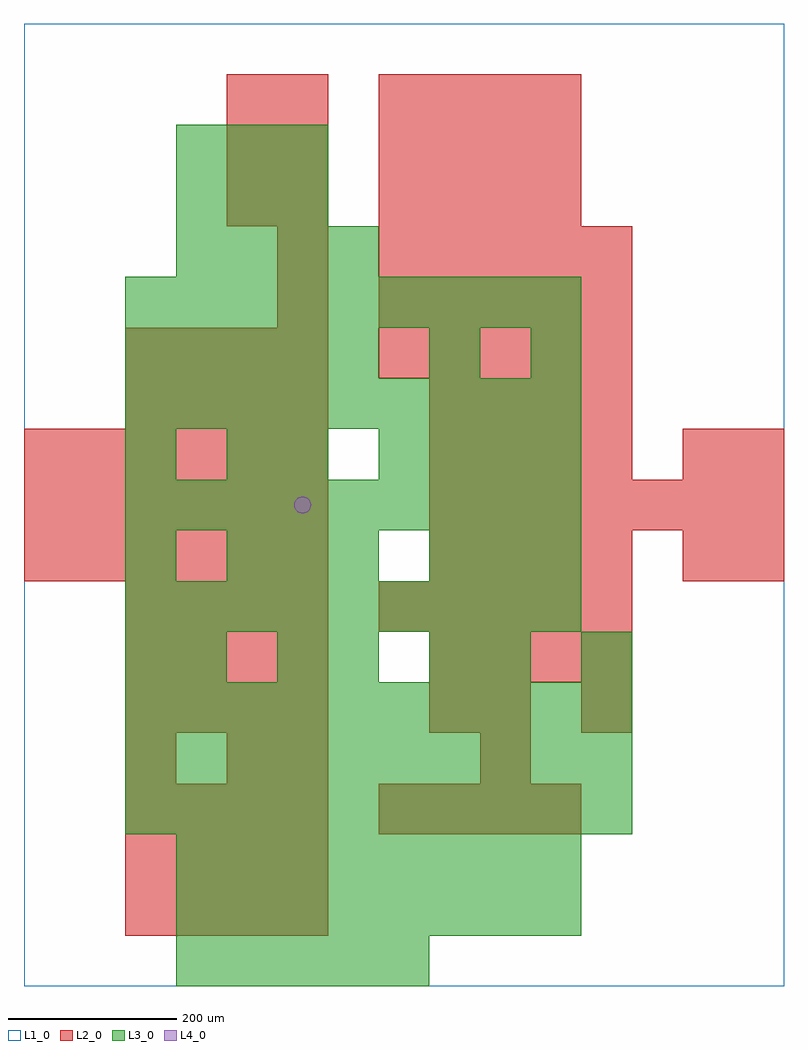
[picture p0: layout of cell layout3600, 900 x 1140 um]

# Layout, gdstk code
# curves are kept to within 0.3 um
import gdstk
lib = gdstk.Library(unit=1e-6, precision=1e-09)
def R(c, l, rs):  # rectangles x0, y0, x1, y1
    for r in rs: c.add(gdstk.rectangle(r[:2], r[2:], *l))
def A(c, l, x, y, w, h, nx, ny, dx, dy):  # array of equal rectangles
    R(c, l, [(x+i*dx, y+j*dy, x+i*dx+w, y+j*dy+h) for i in range(nx) for j in range(ny)])
def P(c, l, *ps):  # polygons
    for p in ps: c.add(gdstk.Polygon(p, *l))
L1_0 = (1, 0)
L2_0 = (2, 0)
L3_0 = (3, 0)
L4_0 = (4, 0)

layout3600 = lib.new_cell('layout3600')
R(layout3600, L1_0, [(0,0,900,1140)])
A(layout3600, L2_0, 120, 60, 60, 60, 4, 3, 60, 60)
A(layout3600, L2_0, 420, 180, 60, 60, 4, 2, 60, 720)
A(layout3600, L2_0, 120, 300, 60, 60, 4, 3, 60, 60)
A(layout3600, L2_0, 480, 360, 60, 60, 4, 3, 60, 120)
A(layout3600, L2_0, 420, 420, 60, 60, 5, 2, 60, 300)
A(layout3600, L2_0, 0, 480, 60, 60, 6, 3, 60, 60)
A(layout3600, L2_0, 480, 540, 60, 60, 7, 1, 60, 0)
A(layout3600, L2_0, 120, 660, 60, 60, 4, 2, 60, 60)
A(layout3600, L2_0, 480, 660, 60, 60, 4, 1, 60, 0)
A(layout3600, L2_0, 300, 780, 60, 60, 1, 5, 0, 60)
A(layout3600, L2_0, 420, 780, 60, 60, 5, 2, 60, 60)
A(layout3600, L2_0, 240, 900, 60, 60, 1, 3, 0, 60)
A(layout3600, L2_0, 420, 960, 60, 60, 4, 2, 60, 60)
R(layout3600, L2_0, [(120,240,180,300), (240,240,300,300), (300,240,360,300), (540,240,600,300), (480,300,540,360), (540,300,600,360), (660,300,720,360), (780,480,840,540), (840,480,900,540), (780,600,840,660), (840,600,900,660)])
A(layout3600, L3_0, 180, 0, 60, 60, 5, 1, 60, 0)
A(layout3600, L3_0, 180, 60, 60, 60, 8, 2, 60, 60)
A(layout3600, L3_0, 120, 180, 60, 60, 10, 3, 60, 60)
A(layout3600, L3_0, 120, 360, 60, 60, 1, 3, 0, 120)
A(layout3600, L3_0, 120, 420, 60, 60, 9, 4, 60, 120)
A(layout3600, L3_0, 240, 480, 60, 60, 3, 1, 60, 0)
A(layout3600, L3_0, 480, 480, 60, 60, 3, 1, 60, 0)
A(layout3600, L3_0, 420, 600, 60, 60, 4, 1, 60, 0)
A(layout3600, L3_0, 120, 720, 60, 60, 5, 1, 60, 0)
A(layout3600, L3_0, 180, 840, 60, 60, 4, 1, 60, 0)
A(layout3600, L3_0, 180, 900, 60, 60, 3, 2, 60, 60)
R(layout3600, L3_0, [(180,360,240,420), (300,360,360,420), (360,360,420,420), (480,360,540,420), (540,360,600,420), (660,360,720,420), (240,600,300,660), (300,600,360,660), (480,720,540,780), (600,720,660,780)])
P(layout3600, L4_0, [(340,570),(339.239,573.827),(337.071,577.071),(333.827,579.239),(330,580),(326.173,579.239),(322.929,577.071),(320.761,573.827),(320,570),(320.761,566.173),(322.929,562.929),(326.173,560.761),(330,560),(333.827,560.761),(337.071,562.929),(339.239,566.173)])

lib.write_gds('layout3600.gds')
